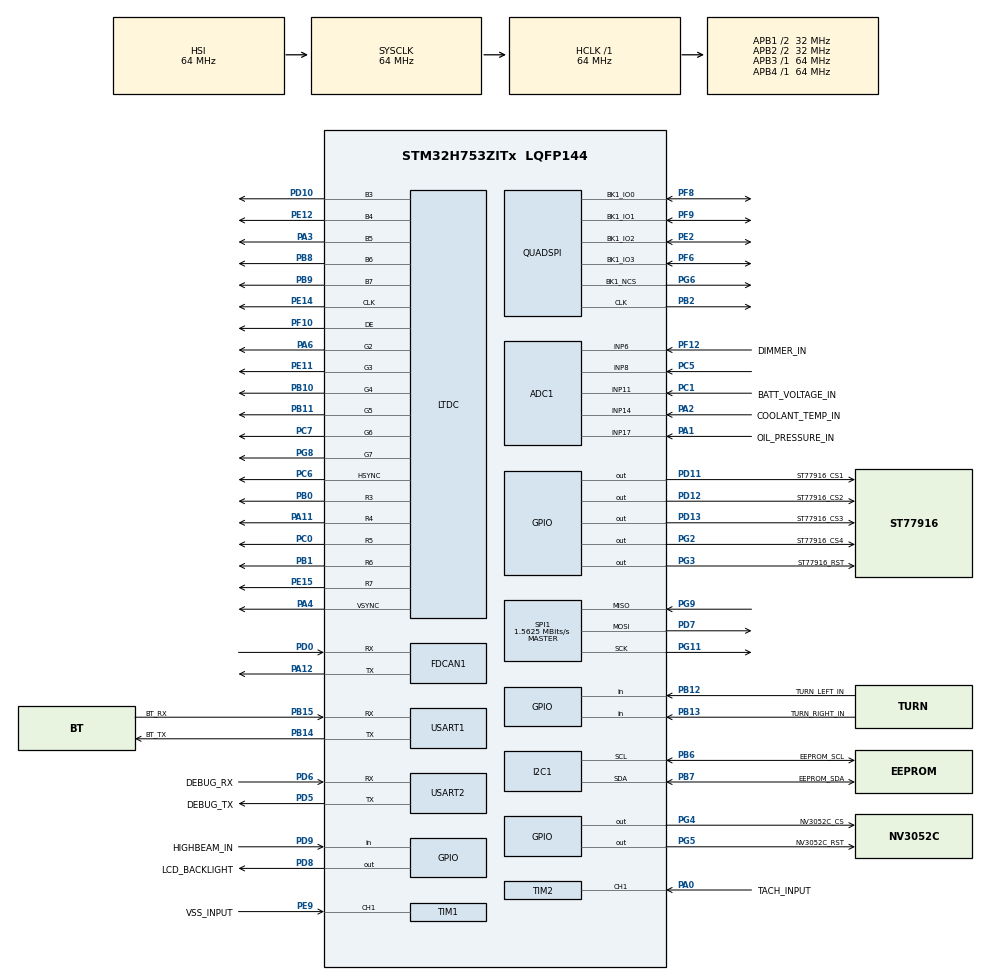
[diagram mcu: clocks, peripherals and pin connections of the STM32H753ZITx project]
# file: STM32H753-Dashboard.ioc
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ADC1.Channel-0\#ChannelRegularConversion=ADC_CHANNEL_6
ADC1.NbrOfConversionFlag=1
ADC1.OffsetNumber-0\#ChannelRegularConversion=ADC_OFFSET_NONE
ADC1.OffsetSignedSaturation-0\#ChannelRegularConversion=DISABLE
ADC1.Rank-0\#ChannelRegularConversion=1
ADC1.SamplingTime-0\#ChannelRegularConversion=ADC_SAMPLETIME_1CYCLE_5
ADC1.master=1
CORTEX_M7.default_mode_Activation=1
FDCAN1.AutoRetransmission=ENABLE
FDCAN1.CalculateBaudRateNominal=1000000
FDCAN1.CalculateTimeBitNominal=1000
FDCAN1.CalculateTimeQuantumNominal=100.0
FDCAN1.NominalPrescaler=5
FDCAN1.NominalTimeSeg1=7
FDCAN1.NominalTimeSeg2=2
FDCAN1.RxFifo0ElmtsNbr=8
FDCAN1.TxFifoQueueElmtsNbr=32
I2C1.Timing=0x00707CBB
LTDC.ActiveH=720
LTDC.ActiveW=720
LTDC.HBP=44
LTDC.HFP=46
LTDC.HSync=2
LTDC.Layers=0
LTDC.PixelFormat_L0=LTDC_PIXEL_FORMAT_RGB565
LTDC.VBP=16
LTDC.VFP=50
LTDC.VSync=5
LTDC.WindowX1_L0=719
LTDC.WindowY1_L0=719
Mcu.Family=STM32H7
Mcu.Name=STM32H753ZITx
Mcu.Package=LQFP144
NVIC.PriorityGroup=NVIC_PRIORITYGROUP_4
NVIC.TIM6_DAC_IRQn=true\:0\:0\:false\:false\:true\:true\:true\:true
PA0.GPIO_Label=TACH_INPUT
PA0.Signal=S_TIM2_CH1_ETR
PA1.GPIO_Label=OIL_PRESSURE_IN
PA1.Mode=IN17-Single-Ended
PA1.Signal=ADC1_INP17
PA11.Mode=RGB565
PA11.Signal=LTDC_R4
PA12.Mode=FDCAN_Activate
PA12.Signal=FDCAN1_TX
PA2.GPIO_Label=COOLANT_TEMP_IN
PA2.Signal=ADCx_INP14
PA3.Mode=RGB565
PA3.Signal=LTDC_B5
PA4.Mode=RGB565
PA4.Signal=LTDC_VSYNC
PA6.Mode=RGB565
PA6.Signal=LTDC_G2
PB0.Mode=RGB565
PB0.Signal=LTDC_R3
PB1.Mode=RGB565
PB1.Signal=LTDC_R6
PB10.Mode=RGB565
PB10.Signal=LTDC_G4
PB11.Mode=RGB565
PB11.Signal=LTDC_G5
PB12.GPIO_Label=TURN_LEFT_IN
PB12.Signal=GPIO_Input
PB13.GPIO_Label=TURN_RIGHT_IN
PB13.Signal=GPIO_Input
PB14.GPIO_Label=BT_TX
PB14.Mode=Asynchronous
PB14.Signal=USART1_TX
PB15.GPIO_Label=BT_RX
PB15.Mode=Asynchronous
PB15.Signal=USART1_RX
PB2.Mode=Single Bank 1
PB2.Signal=QUADSPI_CLK
PB6.GPIO_Label=EEPROM_SCL
PB6.Mode=I2C
PB6.Signal=I2C1_SCL
PB7.GPIO_Label=EEPROM_SDA
PB7.Mode=I2C
PB7.Signal=I2C1_SDA
PB8.Mode=RGB565
PB8.Signal=LTDC_B6
PB9.Mode=RGB565
PB9.Signal=LTDC_B7
PC0.Mode=RGB565
PC0.Signal=LTDC_R5
PC1.GPIO_Label=BATT_VOLTAGE_IN
PC1.Signal=ADCx_INP11
PC5.Signal=ADCx_INP8
PC6.Mode=RGB565
PC6.Signal=LTDC_HSYNC
PC7.Mode=RGB565
PC7.Signal=LTDC_G6
PD0.Mode=FDCAN_Activate
PD0.Signal=FDCAN1_RX
PD10.Mode=RGB565
PD10.Signal=LTDC_B3
PD11.GPIO_Label=ST77916_CS1
PD11.Signal=GPIO_Output
PD12.GPIO_Label=ST77916_CS2
PD12.Signal=GPIO_Output
PD13.GPIO_Label=ST77916_CS3
PD13.Signal=GPIO_Output
PD5.GPIO_Label=DEBUG_TX
PD5.Mode=Asynchronous
PD5.Signal=USART2_TX
PD6.GPIO_Label=DEBUG_RX
PD6.Mode=Asynchronous
PD6.Signal=USART2_RX
PD7.Mode=Full_Duplex_Master
PD7.Signal=SPI1_MOSI
PD8.GPIO_Label=LCD_BACKLIGHT
PD8.Signal=GPIO_Output
PD9.GPIO_Label=HIGHBEAM_IN
PD9.Signal=GPIO_Input
PE11.Mode=RGB565
PE11.Signal=LTDC_G3
PE12.Mode=RGB565
PE12.Signal=LTDC_B4
PE14.Mode=RGB565
PE14.Signal=LTDC_CLK
PE15.Mode=RGB565
PE15.Signal=LTDC_R7
PE2.Mode=Single Bank 1
PE2.Signal=QUADSPI_BK1_IO2
PE9.GPIO_Label=VSS_INPUT
PE9.Signal=S_TIM1_CH1
PF10.Mode=RGB565
PF10.Signal=LTDC_DE
PF12.GPIO_Label=DIMMER_IN
PF12.Mode=IN6-Single-Ended
PF12.Signal=ADC1_INP6
PF6.Mode=Single Bank 1
PF6.Signal=QUADSPI_BK1_IO3
PF8.Mode=Single Bank 1
PF8.Signal=QUADSPI_BK1_IO0
PF9.Mode=Single Bank 1
PF9.Signal=QUADSPI_BK1_IO1
PG11.Mode=Full_Duplex_Master
PG11.Signal=SPI1_SCK
PG2.GPIO_Label=ST77916_CS4
PG2.Signal=GPIO_Output
PG3.GPIO_Label=ST77916_RST
PG3.Signal=GPIO_Output
PG4.GPIO_Label=NV3052C_CS
PG4.Signal=GPIO_Output
PG5.GPIO_Label=NV3052C_RST
PG5.Signal=GPIO_Output
PG6.Mode=Single Bank 1
PG6.Signal=QUADSPI_BK1_NCS
PG8.Mode=RGB565
PG8.Signal=LTDC_G7
PG9.Mode=Full_Duplex_Master
PG9.Signal=SPI1_MISO
ProjectManager.HeapSize=0x200
ProjectManager.StackSize=0x400
ProjectManager.TargetToolchain=CMake
QUADSPI.ChipSelectHighTime=QSPI_CS_HIGH_TIME_2_CYCLE
QUADSPI.ClockPrescaler=4
QUADSPI.FifoThreshold=4
QUADSPI.FlashSize=22
QUADSPI.SampleShifting=QSPI_SAMPLE_SHIFTING_HALFCYCLE
RCC.ADCFreq_Value=80000000
RCC.APB1Freq_Value=32000000
RCC.APB2Freq_Value=32000000
RCC.APB3Freq_Value=64000000
RCC.APB4Freq_Value=64000000
RCC.CortexFreq_Value=64000000
RCC.D2PPRE1=RCC_APB1_DIV2
RCC.D2PPRE2=RCC_APB2_DIV2
RCC.DIVM1=4
RCC.DIVM2=4
RCC.DIVM3=1
RCC.DIVN1=9
RCC.DIVN2=10
RCC.DIVN3=4
RCC.DIVQ1=3
RCC.DIVR3=6
RCC.HCLKFreq_Value=64000000
RCC.PLL2FRACN=0
RCC.PLL3FRACN=0
RCC.PLLFRACN=3072
RCC.SYSCLKFreq_VALUE=64000000
RCC.USBFreq_Value=50000000
SH.ADCx_INP11.0=ADC1_INP11,IN11-Single-Ended
SH.ADCx_INP14.0=ADC1_INP14,IN14-Single-Ended
SH.ADCx_INP8.0=ADC1_INP8,IN8-Single-Ended
SH.S_TIM1_CH1.0=TIM1_CH1,Input_Capture1_from_TI1
SH.S_TIM2_CH1_ETR.0=TIM2_CH1,Input_Capture1_from_TI1
SPI1.BaudRatePrescaler=SPI_BAUDRATEPRESCALER_32
SPI1.CalculateBaudRate=1.5625 MBits/s
SPI1.DataSize=SPI_DATASIZE_8BIT
SPI1.Direction=SPI_DIRECTION_2LINES
SPI1.Mode=SPI_MODE_MASTER
SPI1.VirtualType=VM_MASTER
TIM1.Channel-Input_Capture1_from_TI1=TIM_CHANNEL_1
TIM2.Channel-Input_Capture1_from_TI1=TIM_CHANNEL_1
TIM6.Period=999
TIM6.Prescaler=63
USART1.VirtualMode-Asynchronous=VM_ASYNC
USART2.VirtualMode-Asynchronous=VM_ASYNC
VP_DMA2D_VS_DMA2D.Mode=DMA2D_Activate
VP_MEMORYMAP_VS_MEMORYMAP.Mode=CurAppReg
VP_TIM1_VS_ClockSourceINT.Mode=Internal
VP_TIM6_VS_ClockSourceINT.Mode=Enable_Timer
board=custom

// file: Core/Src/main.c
/* USER CODE BEGIN Header */
/**
  ******************************************************************************
  * @file           : main.c
  * @brief          : Main program body
  ******************************************************************************
  * @attention
  *
  * Copyright (c) 2026 STMicroelectronics.
  * All rights reserved.
  *
  * This software is licensed under terms that can be found in the LICENSE file
  * in the root directory of this software component.
  * If no LICENSE file comes with this software, it is provided AS-IS.
  *
  ******************************************************************************
  */
/* USER CODE END Header */
#include "main.h"

/* USER CODE BEGIN Includes */
#include "st77916.h"
#include "nv3052c.h"
#include "holley_can.h"
#include "sensors.h"
#include "inputs.h"
#include "config.h"
/* USER CODE END Includes */

ADC_HandleTypeDef hadc1;

DMA2D_HandleTypeDef hdma2d;

FDCAN_HandleTypeDef hfdcan1;

I2C_HandleTypeDef hi2c1;

LTDC_HandleTypeDef hltdc;

QSPI_HandleTypeDef hqspi;

SPI_HandleTypeDef hspi1;

TIM_HandleTypeDef htim1;
TIM_HandleTypeDef htim2;
TIM_HandleTypeDef htim6;

UART_HandleTypeDef huart1;
UART_HandleTypeDef huart2;

void SystemClock_Config(void);
static void MPU_Config(void);
static void MX_GPIO_Init(void);
static void MX_ADC1_Init(void);
static void MX_DMA2D_Init(void);
static void MX_FDCAN1_Init(void);
static void MX_I2C1_Init(void);
static void MX_LTDC_Init(void);
static void MX_QUADSPI_Init(void);
static void MX_SPI1_Init(void);
static void MX_TIM1_Init(void);
static void MX_TIM2_Init(void);
static void MX_TIM6_Init(void);
static void MX_USART1_UART_Init(void);
static void MX_USART2_UART_Init(void);

int main(void)
{

  /* MPU Configuration--------------------------------------------------------*/
  MPU_Config();

  /* MCU Configuration--------------------------------------------------------*/

  /* Reset of all peripherals, Initializes the Flash interface and the Systick. */
  HAL_Init();

  /* Configure the system clock */
  SystemClock_Config();

  /* Initialize all configured peripherals */
  MX_GPIO_Init();
  MX_ADC1_Init();
  MX_DMA2D_Init();
  MX_FDCAN1_Init();
  MX_I2C1_Init();
  MX_LTDC_Init();
  MX_QUADSPI_Init();
  MX_SPI1_Init();
  MX_TIM1_Init();
  MX_TIM2_Init();
  MX_TIM6_Init();
  MX_USART1_UART_Init();
  MX_USART2_UART_Init();
  /* USER CODE BEGIN 2 */
  HAL_GPIO_WritePin(LCD_BACKLIGHT_GPIO_Port, LCD_BACKLIGHT_Pin, GPIO_PIN_SET);
  ST77916_InitAll();
  ST77916_Fill(ST77916_DISPLAY_ALL, 0, 0, ST77916_WIDTH - 1, ST77916_HEIGHT - 1, 0x07E0); /* solid green */
  NV3052C_Init();
  Holley_CAN_Init();
  Config_Init();
  Sensors_Init();
  Inputs_Init();
  /* USER CODE END 2 */

  /* Infinite loop */
  while (1)
  {

    /* USER CODE BEGIN 3 */
    Holley_CAN_Update();
    Sensors_Update();
    Inputs_Update();
    Config_BtUpdate();
    NV3052C_Update();
  }
  /* USER CODE END 3 */
}

void SystemClock_Config(void)
{
  RCC_OscInitTypeDef RCC_OscInitStruct = {0};
  RCC_ClkInitTypeDef RCC_ClkInitStruct = {0};

  /** Supply configuration update enable
  */
  HAL_PWREx_ConfigSupply(PWR_LDO_SUPPLY);

  /** Configure the main internal regulator output voltage
  */
  __HAL_PWR_VOLTAGESCALING_CONFIG(PWR_REGULATOR_VOLTAGE_SCALE3);

  while(!__HAL_PWR_GET_FLAG(PWR_FLAG_VOSRDY)) {}

  /** Initializes the RCC Oscillators according to the specified parameters
  * in the RCC_OscInitTypeDef structure.
  */
  RCC_OscInitStruct.OscillatorType = RCC_OSCILLATORTYPE_HSI;
  RCC_OscInitStruct.HSIState = RCC_HSI_DIV1;
  RCC_OscInitStruct.HSICalibrationValue = RCC_HSICALIBRATION_DEFAULT;
  RCC_OscInitStruct.PLL.PLLState = RCC_PLL_ON;
  RCC_OscInitStruct.PLL.PLLSource = RCC_PLLSOURCE_HSI;
  RCC_OscInitStruct.PLL.PLLM = 4;
  RCC_OscInitStruct.PLL.PLLN = 9;
  RCC_OscInitStruct.PLL.PLLP = 2;
  RCC_OscInitStruct.PLL.PLLQ = 3;
  RCC_OscInitStruct.PLL.PLLR = 2;
  RCC_OscInitStruct.PLL.PLLRGE = RCC_PLL1VCIRANGE_3;
  RCC_OscInitStruct.PLL.PLLVCOSEL = RCC_PLL1VCOMEDIUM;
  RCC_OscInitStruct.PLL.PLLFRACN = 3072;
  if (HAL_RCC_OscConfig(&RCC_OscInitStruct) != HAL_OK)
  {
    Error_Handler();
  }

  /** Initializes the CPU, AHB and APB buses clocks
  */
  RCC_ClkInitStruct.ClockType = RCC_CLOCKTYPE_HCLK|RCC_CLOCKTYPE_SYSCLK
                              |RCC_CLOCKTYPE_PCLK1|RCC_CLOCKTYPE_PCLK2
                              |RCC_CLOCKTYPE_D3PCLK1|RCC_CLOCKTYPE_D1PCLK1;
  RCC_ClkInitStruct.SYSCLKSource = RCC_SYSCLKSOURCE_HSI;
  RCC_ClkInitStruct.SYSCLKDivider = RCC_SYSCLK_DIV1;
  RCC_ClkInitStruct.AHBCLKDivider = RCC_HCLK_DIV1;
  RCC_ClkInitStruct.APB3CLKDivider = RCC_APB3_DIV1;
  RCC_ClkInitStruct.APB1CLKDivider = RCC_APB1_DIV2;
  RCC_ClkInitStruct.APB2CLKDivider = RCC_APB2_DIV2;
  RCC_ClkInitStruct.APB4CLKDivider = RCC_APB4_DIV1;

  if (HAL_RCC_ClockConfig(&RCC_ClkInitStruct, FLASH_LATENCY_1) != HAL_OK)
  {
    Error_Handler();
  }
}

static void MX_ADC1_Init(void)
{

  ADC_MultiModeTypeDef multimode = {0};
  ADC_ChannelConfTypeDef sConfig = {0};

  /** Common config
  */
  hadc1.Instance = ADC1;
  hadc1.Init.ClockPrescaler = ADC_CLOCK_ASYNC_DIV2;
  hadc1.Init.Resolution = ADC_RESOLUTION_16B;
  hadc1.Init.ScanConvMode = ADC_SCAN_DISABLE;
  hadc1.Init.EOCSelection = ADC_EOC_SINGLE_CONV;
  hadc1.Init.LowPowerAutoWait = DISABLE;
  hadc1.Init.ContinuousConvMode = DISABLE;
  hadc1.Init.NbrOfConversion = 1;
  hadc1.Init.DiscontinuousConvMode = DISABLE;
  hadc1.Init.ExternalTrigConv = ADC_SOFTWARE_START;
  hadc1.Init.ExternalTrigConvEdge = ADC_EXTERNALTRIGCONVEDGE_NONE;
  hadc1.Init.ConversionDataManagement = ADC_CONVERSIONDATA_DR;
  hadc1.Init.Overrun = ADC_OVR_DATA_PRESERVED;
  hadc1.Init.LeftBitShift = ADC_LEFTBITSHIFT_NONE;
  hadc1.Init.OversamplingMode = DISABLE;
  hadc1.Init.Oversampling.Ratio = 1;
  if (HAL_ADC_Init(&hadc1) != HAL_OK)
  {
    Error_Handler();
  }

  /** Configure the ADC multi-mode
  */
  multimode.Mode = ADC_MODE_INDEPENDENT;
  if (HAL_ADCEx_MultiModeConfigChannel(&hadc1, &multimode) != HAL_OK)
  {
    Error_Handler();
  }

  /** Configure Regular Channel
  */
  sConfig.Channel = ADC_CHANNEL_6;
  sConfig.Rank = ADC_REGULAR_RANK_1;
  sConfig.SamplingTime = ADC_SAMPLETIME_1CYCLE_5;
  sConfig.SingleDiff = ADC_SINGLE_ENDED;
  sConfig.OffsetNumber = ADC_OFFSET_NONE;
  sConfig.Offset = 0;
  sConfig.OffsetSignedSaturation = DISABLE;
  if (HAL_ADC_ConfigChannel(&hadc1, &sConfig) != HAL_OK)
  {
    Error_Handler();
  }

}

static void MX_DMA2D_Init(void)
{

  hdma2d.Instance = DMA2D;
  hdma2d.Init.Mode = DMA2D_M2M;
  hdma2d.Init.ColorMode = DMA2D_OUTPUT_ARGB8888;
  hdma2d.Init.OutputOffset = 0;
  hdma2d.LayerCfg[1].InputOffset = 0;
  hdma2d.LayerCfg[1].InputColorMode = DMA2D_INPUT_ARGB8888;
  hdma2d.LayerCfg[1].AlphaMode = DMA2D_NO_MODIF_ALPHA;
  hdma2d.LayerCfg[1].InputAlpha = 0;
  hdma2d.LayerCfg[1].AlphaInverted = DMA2D_REGULAR_ALPHA;
  hdma2d.LayerCfg[1].RedBlueSwap = DMA2D_RB_REGULAR;
  hdma2d.LayerCfg[1].ChromaSubSampling = DMA2D_NO_CSS;
  if (HAL_DMA2D_Init(&hdma2d) != HAL_OK)
  {
    Error_Handler();
  }
  if (HAL_DMA2D_ConfigLayer(&hdma2d, 1) != HAL_OK)
  {
    Error_Handler();
  }

}

static void MX_FDCAN1_Init(void)
{

  hfdcan1.Instance = FDCAN1;
  hfdcan1.Init.FrameFormat = FDCAN_FRAME_CLASSIC;
  hfdcan1.Init.Mode = FDCAN_MODE_NORMAL;
  hfdcan1.Init.AutoRetransmission = ENABLE;
  hfdcan1.Init.TransmitPause = DISABLE;
  hfdcan1.Init.ProtocolException = DISABLE;
  hfdcan1.Init.NominalPrescaler = 5;
  hfdcan1.Init.NominalSyncJumpWidth = 1;
  hfdcan1.Init.NominalTimeSeg1 = 7;
  hfdcan1.Init.NominalTimeSeg2 = 2;
  hfdcan1.Init.DataPrescaler = 1;
  hfdcan1.Init.DataSyncJumpWidth = 1;
  hfdcan1.Init.DataTimeSeg1 = 1;
  hfdcan1.Init.DataTimeSeg2 = 1;
  hfdcan1.Init.MessageRAMOffset = 0;
  hfdcan1.Init.StdFiltersNbr = 0;
  hfdcan1.Init.ExtFiltersNbr = 0;
  hfdcan1.Init.RxFifo0ElmtsNbr = 8;
  hfdcan1.Init.RxFifo0ElmtSize = FDCAN_DATA_BYTES_8;
  hfdcan1.Init.RxFifo1ElmtsNbr = 0;
  hfdcan1.Init.RxFifo1ElmtSize = FDCAN_DATA_BYTES_8;
  hfdcan1.Init.RxBuffersNbr = 0;
  hfdcan1.Init.RxBufferSize = FDCAN_DATA_BYTES_8;
  hfdcan1.Init.TxEventsNbr = 0;
  hfdcan1.Init.TxBuffersNbr = 0;
  hfdcan1.Init.TxFifoQueueElmtsNbr = 32;
  hfdcan1.Init.TxFifoQueueMode = FDCAN_TX_FIFO_OPERATION;
  hfdcan1.Init.TxElmtSize = FDCAN_DATA_BYTES_8;
  if (HAL_FDCAN_Init(&hfdcan1) != HAL_OK)
  {
    Error_Handler();
  }

}

static void MX_I2C1_Init(void)
{

  hi2c1.Instance = I2C1;
  hi2c1.Init.Timing = 0x00707CBB;
  hi2c1.Init.OwnAddress1 = 0;
  hi2c1.Init.AddressingMode = I2C_ADDRESSINGMODE_7BIT;
  hi2c1.Init.DualAddressMode = I2C_DUALADDRESS_DISABLE;
  hi2c1.Init.OwnAddress2 = 0;
  hi2c1.Init.OwnAddress2Masks = I2C_OA2_NOMASK;
  hi2c1.Init.GeneralCallMode = I2C_GENERALCALL_DISABLE;
  hi2c1.Init.NoStretchMode = I2C_NOSTRETCH_DISABLE;
  if (HAL_I2C_Init(&hi2c1) != HAL_OK)
  {
    Error_Handler();
  }

  /** Configure Analogue filter
  */
  if (HAL_I2CEx_ConfigAnalogFilter(&hi2c1, I2C_ANALOGFILTER_ENABLE) != HAL_OK)
  {
    Error_Handler();
  }

  /** Configure Digital filter
  */
  if (HAL_I2CEx_ConfigDigitalFilter(&hi2c1, 0) != HAL_OK)
  {
    Error_Handler();
  }

}

static void MX_LTDC_Init(void)
{

  LTDC_LayerCfgTypeDef pLayerCfg = {0};

  hltdc.Instance = LTDC;
  hltdc.Init.HSPolarity = LTDC_HSPOLARITY_AL;
  hltdc.Init.VSPolarity = LTDC_VSPOLARITY_AL;
  hltdc.Init.DEPolarity = LTDC_DEPOLARITY_AH;
  hltdc.Init.PCPolarity = LTDC_PCPOLARITY_IIPC;
  hltdc.Init.HorizontalSync = 1;     /* HSPW=2 */
  hltdc.Init.VerticalSync = 4;       /* VSPW=5 */
  hltdc.Init.AccumulatedHBP = 45;    /* HBP=44 per manufacturer init code */
  hltdc.Init.AccumulatedVBP = 20;    /* VBP=16 per manufacturer init code */
  hltdc.Init.AccumulatedActiveW = 765;
  hltdc.Init.AccumulatedActiveH = 740;
  hltdc.Init.TotalWidth = 811;       /* HFP=46 per manufacturer init code */
  hltdc.Init.TotalHeigh = 790;       /* VFP=50 per manufacturer init code */
  hltdc.Init.Backcolor.Blue = 0;
  hltdc.Init.Backcolor.Green = 0;
  hltdc.Init.Backcolor.Red = 0;
  if (HAL_LTDC_Init(&hltdc) != HAL_OK)
  {
    Error_Handler();
  }
  pLayerCfg.WindowX0 = 0;
  pLayerCfg.WindowX1 = 719;
  pLayerCfg.WindowY0 = 0;
  pLayerCfg.WindowY1 = 719;
  pLayerCfg.PixelFormat = LTDC_PIXEL_FORMAT_RGB565;
  pLayerCfg.Alpha = 0;
  pLayerCfg.Alpha0 = 0;
  pLayerCfg.BlendingFactor1 = LTDC_BLENDING_FACTOR1_CA;
  pLayerCfg.BlendingFactor2 = LTDC_BLENDING_FACTOR2_CA;
  pLayerCfg.FBStartAdress = 0;
  pLayerCfg.ImageWidth = 0;
  pLayerCfg.ImageHeight = 0;
  pLayerCfg.Backcolor.Blue = 0;
  pLayerCfg.Backcolor.Green = 0;
  pLayerCfg.Backcolor.Red = 0;
  if (HAL_LTDC_ConfigLayer(&hltdc, &pLayerCfg, 0) != HAL_OK)
  {
    Error_Handler();
  }

}

static void MX_QUADSPI_Init(void)
{

  /* QUADSPI parameter configuration*/
  hqspi.Instance = QUADSPI;
  hqspi.Init.ClockPrescaler = 4;
  hqspi.Init.FifoThreshold = 4;
  hqspi.Init.SampleShifting = QSPI_SAMPLE_SHIFTING_HALFCYCLE;
  hqspi.Init.FlashSize = 22;
  hqspi.Init.ChipSelectHighTime = QSPI_CS_HIGH_TIME_2_CYCLE;
  hqspi.Init.ClockMode = QSPI_CLOCK_MODE_3;
  hqspi.Init.FlashID = QSPI_FLASH_ID_1;
  hqspi.Init.DualFlash = QSPI_DUALFLASH_DISABLE;
  if (HAL_QSPI_Init(&hqspi) != HAL_OK)
  {
    Error_Handler();
  }

}

static void MX_SPI1_Init(void)
{

  /* SPI1 parameter configuration*/
  hspi1.Instance = SPI1;
  hspi1.Init.Mode = SPI_MODE_MASTER;
  hspi1.Init.Direction = SPI_DIRECTION_2LINES;
  hspi1.Init.DataSize = SPI_DATASIZE_8BIT;
  hspi1.Init.CLKPolarity = SPI_POLARITY_LOW;
  hspi1.Init.CLKPhase = SPI_PHASE_1EDGE;
  hspi1.Init.NSS = SPI_NSS_SOFT;
  hspi1.Init.BaudRatePrescaler = SPI_BAUDRATEPRESCALER_32;
  hspi1.Init.FirstBit = SPI_FIRSTBIT_MSB;
  hspi1.Init.TIMode = SPI_TIMODE_DISABLE;
  hspi1.Init.CRCCalculation = SPI_CRCCALCULATION_DISABLE;
  hspi1.Init.CRCPolynomial = 0x0;
  hspi1.Init.NSSPMode = SPI_NSS_PULSE_ENABLE;
  hspi1.Init.NSSPolarity = SPI_NSS_POLARITY_LOW;
  hspi1.Init.FifoThreshold = SPI_FIFO_THRESHOLD_01DATA;
  hspi1.Init.TxCRCInitializationPattern = SPI_CRC_INITIALIZATION_ALL_ZERO_PATTERN;
  hspi1.Init.RxCRCInitializationPattern = SPI_CRC_INITIALIZATION_ALL_ZERO_PATTERN;
  hspi1.Init.MasterSSIdleness = SPI_MASTER_SS_IDLENESS_00CYCLE;
  hspi1.Init.MasterInterDataIdleness = SPI_MASTER_INTERDATA_IDLENESS_00CYCLE;
  hspi1.Init.MasterReceiverAutoSusp = SPI_MASTER_RX_AUTOSUSP_DISABLE;
  hspi1.Init.MasterKeepIOState = SPI_MASTER_KEEP_IO_STATE_DISABLE;
  hspi1.Init.IOSwap = SPI_IO_SWAP_DISABLE;
  if (HAL_SPI_Init(&hspi1) != HAL_OK)
  {
    Error_Handler();
  }

}

static void MX_TIM1_Init(void)
{

  TIM_ClockConfigTypeDef sClockSourceConfig = {0};
  TIM_MasterConfigTypeDef sMasterConfig = {0};
  TIM_IC_InitTypeDef sConfigIC = {0};

  htim1.Instance = TIM1;
  htim1.Init.Prescaler = 0;
  htim1.Init.CounterMode = TIM_COUNTERMODE_UP;
  htim1.Init.Period = 65535;
  htim1.Init.ClockDivision = TIM_CLOCKDIVISION_DIV1;
  htim1.Init.RepetitionCounter = 0;
  htim1.Init.AutoReloadPreload = TIM_AUTORELOAD_PRELOAD_DISABLE;
  if (HAL_TIM_Base_Init(&htim1) != HAL_OK)
  {
    Error_Handler();
  }
  sClockSourceConfig.ClockSource = TIM_CLOCKSOURCE_INTERNAL;
  if (HAL_TIM_ConfigClockSource(&htim1, &sClockSourceConfig) != HAL_OK)
  {
    Error_Handler();
  }
  if (HAL_TIM_IC_Init(&htim1) != HAL_OK)
  {
    Error_Handler();
  }
  sMasterConfig.MasterOutputTrigger = TIM_TRGO_RESET;
  sMasterConfig.MasterOutputTrigger2 = TIM_TRGO2_RESET;
  sMasterConfig.MasterSlaveMode = TIM_MASTERSLAVEMODE_DISABLE;
  if (HAL_TIMEx_MasterConfigSynchronization(&htim1, &sMasterConfig) != HAL_OK)
  {
    Error_Handler();
  }
  sConfigIC.ICPolarity = TIM_INPUTCHANNELPOLARITY_RISING;
  sConfigIC.ICSelection = TIM_ICSELECTION_DIRECTTI;
  sConfigIC.ICPrescaler = TIM_ICPSC_DIV1;
  sConfigIC.ICFilter = 0;
  if (HAL_TIM_IC_ConfigChannel(&htim1, &sConfigIC, TIM_CHANNEL_1) != HAL_OK)
  {
    Error_Handler();
  }

}

static void MX_TIM2_Init(void)
{

  TIM_MasterConfigTypeDef sMasterConfig = {0};
  TIM_IC_InitTypeDef sConfigIC = {0};

  htim2.Instance = TIM2;
  htim2.Init.Prescaler = 0;
  htim2.Init.CounterMode = TIM_COUNTERMODE_UP;
  htim2.Init.Period = 4294967295;
  htim2.Init.ClockDivision = TIM_CLOCKDIVISION_DIV1;
  htim2.Init.AutoReloadPreload = TIM_AUTORELOAD_PRELOAD_DISABLE;
  if (HAL_TIM_IC_Init(&htim2) != HAL_OK)
  {
    Error_Handler();
  }
  sMasterConfig.MasterOutputTrigger = TIM_TRGO_RESET;
  sMasterConfig.MasterSlaveMode = TIM_MASTERSLAVEMODE_DISABLE;
  if (HAL_TIMEx_MasterConfigSynchronization(&htim2, &sMasterConfig) != HAL_OK)
  {
    Error_Handler();
  }
  sConfigIC.ICPolarity = TIM_INPUTCHANNELPOLARITY_RISING;
  sConfigIC.ICSelection = TIM_ICSELECTION_DIRECTTI;
  sConfigIC.ICPrescaler = TIM_ICPSC_DIV1;
  sConfigIC.ICFilter = 0;
  if (HAL_TIM_IC_ConfigChannel(&htim2, &sConfigIC, TIM_CHANNEL_1) != HAL_OK)
  {
    Error_Handler();
  }

}

static void MX_TIM6_Init(void)
{

  TIM_MasterConfigTypeDef sMasterConfig = {0};

  htim6.Instance = TIM6;
  htim6.Init.Prescaler = 63;
  htim6.Init.CounterMode = TIM_COUNTERMODE_UP;
  htim6.Init.Period = 999;
  htim6.Init.AutoReloadPreload = TIM_AUTORELOAD_PRELOAD_DISABLE;
  if (HAL_TIM_Base_Init(&htim6) != HAL_OK)
  {
    Error_Handler();
  }
  sMasterConfig.MasterOutputTrigger = TIM_TRGO_RESET;
  sMasterConfig.MasterSlaveMode = TIM_MASTERSLAVEMODE_DISABLE;
  if (HAL_TIMEx_MasterConfigSynchronization(&htim6, &sMasterConfig) != HAL_OK)
  {
    Error_Handler();
  }

}

static void MX_USART1_UART_Init(void)
{

  huart1.Instance = USART1;
  huart1.Init.BaudRate = 115200;
  huart1.Init.WordLength = UART_WORDLENGTH_8B;
  huart1.Init.StopBits = UART_STOPBITS_1;
  huart1.Init.Parity = UART_PARITY_NONE;
  huart1.Init.Mode = UART_MODE_TX_RX;
  huart1.Init.HwFlowCtl = UART_HWCONTROL_NONE;
  huart1.Init.OverSampling = UART_OVERSAMPLING_16;
  huart1.Init.OneBitSampling = UART_ONE_BIT_SAMPLE_DISABLE;
  huart1.Init.ClockPrescaler = UART_PRESCALER_DIV1;
  huart1.AdvancedInit.AdvFeatureInit = UART_ADVFEATURE_NO_INIT;
  if (HAL_UART_Init(&huart1) != HAL_OK)
  {
    Error_Handler();
  }
  if (HAL_UARTEx_SetTxFifoThreshold(&huart1, UART_TXFIFO_THRESHOLD_1_8) != HAL_OK)
  {
    Error_Handler();
  }
  if (HAL_UARTEx_SetRxFifoThreshold(&huart1, UART_RXFIFO_THRESHOLD_1_8) != HAL_OK)
  {
    Error_Handler();
  }
  if (HAL_UARTEx_DisableFifoMode(&huart1) != HAL_OK)
  {
    Error_Handler();
  }

}

static void MX_USART2_UART_Init(void)
{

  huart2.Instance = USART2;
  huart2.Init.BaudRate = 115200;
  huart2.Init.WordLength = UART_WORDLENGTH_8B;
  huart2.Init.StopBits = UART_STOPBITS_1;
  huart2.Init.Parity = UART_PARITY_NONE;
  huart2.Init.Mode = UART_MODE_TX_RX;
  huart2.Init.HwFlowCtl = UART_HWCONTROL_NONE;
  huart2.Init.OverSampling = UART_OVERSAMPLING_16;
  huart2.Init.OneBitSampling = UART_ONE_BIT_SAMPLE_DISABLE;
  huart2.Init.ClockPrescaler = UART_PRESCALER_DIV1;
  huart2.AdvancedInit.AdvFeatureInit = UART_ADVFEATURE_NO_INIT;
  if (HAL_UART_Init(&huart2) != HAL_OK)
  {
    Error_Handler();
  }
  if (HAL_UARTEx_SetTxFifoThreshold(&huart2, UART_TXFIFO_THRESHOLD_1_8) != HAL_OK)
  {
    Error_Handler();
  }
  if (HAL_UARTEx_SetRxFifoThreshold(&huart2, UART_RXFIFO_THRESHOLD_1_8) != HAL_OK)
  {
    Error_Handler();
  }
  if (HAL_UARTEx_DisableFifoMode(&huart2) != HAL_OK)
  {
    Error_Handler();
  }

}

static void MX_GPIO_Init(void)
{
  GPIO_InitTypeDef GPIO_InitStruct = {0};

  /* GPIO Ports Clock Enable */
  __HAL_RCC_GPIOE_CLK_ENABLE();
  __HAL_RCC_GPIOF_CLK_ENABLE();
  __HAL_RCC_GPIOC_CLK_ENABLE();
  __HAL_RCC_GPIOA_CLK_ENABLE();
  __HAL_RCC_GPIOB_CLK_ENABLE();
  __HAL_RCC_GPIOD_CLK_ENABLE();
  __HAL_RCC_GPIOG_CLK_ENABLE();

  /*Configure GPIO pin Output Level */
  HAL_GPIO_WritePin(GPIOD, LCD_BACKLIGHT_Pin|ST77916_CS1_Pin|ST77916_CS2_Pin|ST77916_CS3_Pin, GPIO_PIN_RESET);

  /*Configure GPIO pin Output Level */
  HAL_GPIO_WritePin(GPIOG, ST77916_CS4_Pin|ST77916_RST_Pin|NV3052C_CS_Pin|NV3052C_RST_Pin, GPIO_PIN_RESET);

  /*Configure GPIO pins : TURN_LEFT_IN_Pin TURN_RIGHT_IN_Pin */
  GPIO_InitStruct.Pin = TURN_LEFT_IN_Pin|TURN_RIGHT_IN_Pin;
  GPIO_InitStruct.Mode = GPIO_MODE_INPUT;
  GPIO_InitStruct.Pull = GPIO_NOPULL;
  HAL_GPIO_Init(GPIOB, &GPIO_InitStruct);

  /*Configure GPIO pins : LCD_BACKLIGHT_Pin ST77916_CS1_Pin ST77916_CS2_Pin ST77916_CS3_Pin */
  GPIO_InitStruct.Pin = LCD_BACKLIGHT_Pin|ST77916_CS1_Pin|ST77916_CS2_Pin|ST77916_CS3_Pin;
  GPIO_InitStruct.Mode = GPIO_MODE_OUTPUT_PP;
  GPIO_InitStruct.Pull = GPIO_NOPULL;
  GPIO_InitStruct.Speed = GPIO_SPEED_FREQ_LOW;
  HAL_GPIO_Init(GPIOD, &GPIO_InitStruct);

  /*Configure GPIO pin : HIGHBEAM_IN_Pin */
  GPIO_InitStruct.Pin = HIGHBEAM_IN_Pin;
  GPIO_InitStruct.Mode = GPIO_MODE_INPUT;
  GPIO_InitStruct.Pull = GPIO_NOPULL;
  HAL_GPIO_Init(HIGHBEAM_IN_GPIO_Port, &GPIO_InitStruct);

  /*Configure GPIO pins : ST77916_CS4_Pin ST77916_RST_Pin NV3052C_CS_Pin NV3052C_RST_Pin */
  GPIO_InitStruct.Pin = ST77916_CS4_Pin|ST77916_RST_Pin|NV3052C_CS_Pin|NV3052C_RST_Pin;
  GPIO_InitStruct.Mode = GPIO_MODE_OUTPUT_PP;
  GPIO_InitStruct.Pull = GPIO_NOPULL;
  GPIO_InitStruct.Speed = GPIO_SPEED_FREQ_LOW;
  HAL_GPIO_Init(GPIOG, &GPIO_InitStruct);

}

 /* MPU Configuration */

void MPU_Config(void)
{
  MPU_Region_InitTypeDef MPU_InitStruct = {0};

  /* Disables the MPU */
  HAL_MPU_Disable();

  /** Initializes and configures the Region and the memory to be protected
  */
  MPU_InitStruct.Enable = MPU_REGION_ENABLE;
  MPU_InitStruct.Number = MPU_REGION_NUMBER0;
  MPU_InitStruct.BaseAddress = 0x0;
  MPU_InitStruct.Size = MPU_REGION_SIZE_4GB;
  MPU_InitStruct.SubRegionDisable = 0x87;
  MPU_InitStruct.TypeExtField = MPU_TEX_LEVEL0;
  MPU_InitStruct.AccessPermission = MPU_REGION_NO_ACCESS;
  MPU_InitStruct.DisableExec = MPU_INSTRUCTION_ACCESS_DISABLE;
  MPU_InitStruct.IsShareable = MPU_ACCESS_SHAREABLE;
  MPU_InitStruct.IsCacheable = MPU_ACCESS_NOT_CACHEABLE;
  MPU_InitStruct.IsBufferable = MPU_ACCESS_NOT_BUFFERABLE;

  HAL_MPU_ConfigRegion(&MPU_InitStruct);
  /* Enables the MPU */
  HAL_MPU_Enable(MPU_PRIVILEGED_DEFAULT);

}

void Error_Handler(void)
{
  __disable_irq();
  while (1)
  {
  }
}
